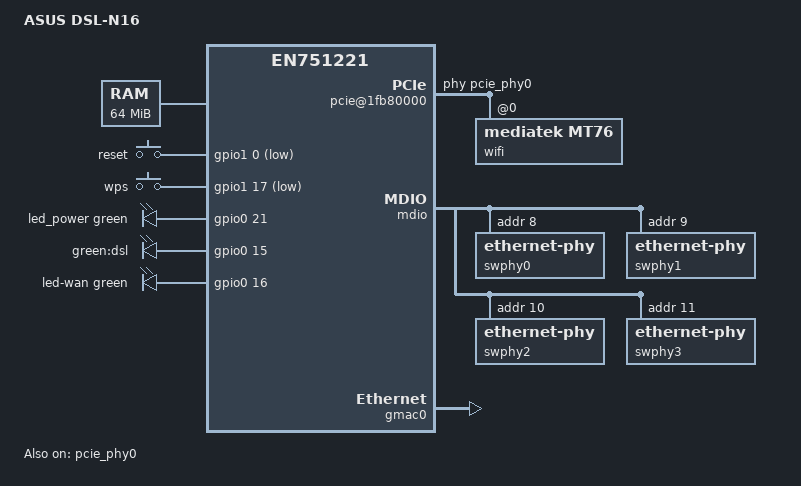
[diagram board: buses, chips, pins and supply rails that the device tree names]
// SPDX-License-Identifier: (GPL-2.0-only OR BSD-2-Clause)
/dts-v1/;

#include <dt-bindings/gpio/gpio.h>
#include <dt-bindings/input/input.h>
#include <dt-bindings/leds/common.h>

#include "en751221.dtsi"

/ {
	model = "ASUS DSL-N16";
	compatible = "asus,dsl-n16", "econet,en751221";

	aliases {
		led-boot = &led_power;
		led-failsafe = &led_power;
		led-running = &led_power;
		led-upgrade = &led_power;
	};

	memory@0 {
		device_type = "memory";
		reg = <0x00000000 0x4000000>;
	};

	chosen {
		stdout-path = "/serial@1fbf0000:115200";
		linux,usable-memory-range = <0x00020000 0x03fe0000>;
	};

	keys {
		compatible = "gpio-keys-polled";
		poll-interval = <20>;

		key-reset {
			label = "reset";
			gpios = <&gpio1 0 GPIO_ACTIVE_LOW>;	/* GPIO 32 */
			linux,code = <KEY_RESTART>;
		};

		key-wps {
			label = "wps";
			gpios = <&gpio1 17 GPIO_ACTIVE_LOW>;	/* GPIO 49 */
			linux,code = <KEY_WPS_BUTTON>;
		};
	};

	leds {
		compatible = "gpio-leds";

		led_power: led-power {
			function = LED_FUNCTION_POWER;
			color = <LED_COLOR_ID_GREEN>;
			gpios = <&gpio0 21 GPIO_ACTIVE_HIGH>;
		};

		led-dsl {
			label = "green:dsl";
			gpios = <&gpio0 15 GPIO_ACTIVE_HIGH>;
		};

		led-wan {
			function = LED_FUNCTION_WAN;
			color = <LED_COLOR_ID_GREEN>;
			gpios = <&gpio0 16 GPIO_ACTIVE_HIGH>;
		};
	};

	/*
	 * LAN1-4 LEDs: GPIO 42-45, shared with the switch port LED outputs
	 * (SCU GPIO share bits 9-12). The switch drives them by default.
	 */
	leds-lan {
		compatible = "econet,mt7510-mux-leds";
		econet,scu = <&scuclk>;

		led-lan1 {
			function = LED_FUNCTION_LAN;
			function-enumerator = <1>;
			color = <LED_COLOR_ID_GREEN>;
			gpios = <&gpio1 10 GPIO_ACTIVE_LOW>;
			econet,mux-bit = <9>;
		};

		led-lan2 {
			function = LED_FUNCTION_LAN;
			function-enumerator = <2>;
			color = <LED_COLOR_ID_GREEN>;
			gpios = <&gpio1 11 GPIO_ACTIVE_LOW>;
			econet,mux-bit = <10>;
		};

		led-lan3 {
			function = LED_FUNCTION_LAN;
			function-enumerator = <3>;
			color = <LED_COLOR_ID_GREEN>;
			gpios = <&gpio1 12 GPIO_ACTIVE_LOW>;
			econet,mux-bit = <11>;
		};

		led-lan4 {
			function = LED_FUNCTION_LAN;
			function-enumerator = <4>;
			color = <LED_COLOR_ID_GREEN>;
			gpios = <&gpio1 13 GPIO_ACTIVE_LOW>;
			econet,mux-bit = <12>;
		};
	};
};

/*
 * MT7510 has no EN7523-style SPI controller; the SPI NOR (GD25Q128) sits on
 * the older TC3162 flash controller with a memory mapped read window.
 */
/delete-node/ &nand;

&spi_ctrl {
	status = "disabled";
};

/ {
	flash@1fbc0000 {
		compatible = "econet,mt7510-sfc";
		reg = <0x1fbc0000 0x100>, <0x1c000000 0x1000000>;

		partitions {
			compatible = "fixed-partitions";
			#address-cells = <1>;
			#size-cells = <1>;

			partition@0 {
				label = "bootloader";
				reg = <0x0 0x10000>;
				read-only;

				nvmem-layout {
					compatible = "fixed-layout";
					#address-cells = <1>;
					#size-cells = <1>;

					eeprom_bootloader_fb00: eeprom@fb00 {
						/* MT7592 */
						reg = <0xfb00 0x400>;
					};

					macaddr_bootloader_ff48: macaddr@ff48 {
						compatible = "mac-base";
						reg = <0xff48 0x6>;
						#nvmem-cell-cells = <1>;
					};
				};
			};

			partition@10000 {
				label = "romfile";
				reg = <0x10000 0x10000>;
				read-only;
			};

			/* Stock "tclinux" (0x20000-0xec0000) + "jffs2" (0xec0000-0xfc0000) */
			partition@20000 {
				label = "firmware";
				reg = <0x20000 0xfa0000>;
			};

			/* tclinux-trx pads header + kernel to 4 MiB */
			partition@420000 {
				label = "rootfs";
				reg = <0x420000 0xba0000>;
				linux,rootfs;
			};

			partition@fc0000 {
				label = "reservearea";
				reg = <0xfc0000 0x40000>;
				read-only;
			};
		};
	};
};

&gmac0 {
	status = "okay";
	nvmem-cells = <&macaddr_bootloader_ff48 0>;
	nvmem-cell-names = "mac-address";
};

/*
 * MT7510 PCIe is not the EN751221/EN7528 controller: it has the MediaTek v1
 * layout (shared registers at 0x1fb80000, root ports at 0x1fb82000 and
 * 0x1fb83000) and one PHY block at 0x1faf2000 for both ports. Replace the
 * dtsi nodes. The MT7592 sits on RC1 (stock log: RC0 link down).
 */
&pcie_phy0 {
	compatible = "econet,mt7510-pcie-phy";
	status = "okay";
};

&pcie_phy1 {
	status = "disabled";
};

&intc {
	#address-cells = <0>;
};

/ {
	pcie@1fb80000 {
		compatible = "econet,mt7510-pcie";
		device_type = "pci";
		reg = <0x1fb80000 0x100>, <0x1fb82000 0x1000>,
		      <0x1fb83000 0x1000>;
		reg-names = "subsys", "port0", "port1";
		#address-cells = <3>;
		#size-cells = <2>;
		econet,scu = <&scuclk>;
		phys = <&pcie_phy0>;
		phy-names = "pcie-phy1";
		bus-range = <0x00 0xff>;
		ranges = <0x81000000 0 0x00000000 0x1f600000 0 0x00010000>,
			 <0x82000000 0 0x20000000 0x20000000 0 0x10000000>;

		pcie@1,0 {
			reg = <0x0800 0 0 0 0>;
			device_type = "pci";
			#address-cells = <3>;
			#size-cells = <2>;
			#interrupt-cells = <1>;
			ranges;
			interrupt-map-mask = <0 0 0 0>;
			/* PCIe INTx reaches the intc on line 23 (seen pending), not 24 */
			interrupt-map = <0 0 0 0 &intc 23>;

			wifi@0,0 {
				compatible = "mediatek,mt76";
				reg = <0x0000 0 0 0 0>;
				nvmem-cells = <&eeprom_bootloader_fb00>,
					      <&macaddr_bootloader_ff48 1>;
				nvmem-cell-names = "eeprom", "mac-address";

				/* Wi-Fi LED hangs off the MT7592's LED pin */
				led {
					led-active-low;
				};
			};
		};
	};
};

/*
 * MT7510 feeds GDMA1 (LAN) from the old PDMA engine, not QDMA, so it needs
 * its own driver (kmod-mt7510-eth). PDMA interrupt = MAC_INT (21). Only the
 * frame engine is reset; the switch keeps the bootloader's PHY setup.
 */
&ethernet {
	compatible = "econet,mt7510-eth";
	/* the switch at 0x1fb58000 has its own node */
	reg = <0x1fb50000 0x8000>;
	interrupts = <21>;
	resets = <&scuclk EN751221_FE_QDMA1_RST>;
	reset-names = "fe";
};

/* The MT7530 core is memory mapped on MT7510, not on MDIO */
/delete-node/ &mdio;

/ {
	/*
	 * MT7530 core (chip ID 0x7530 rev 2). Ports 0-3 = LAN1-4 with FE PHYs
	 * at 8-11 (port 4 / PHY 12 has no socket), port 6 = frame engine.
	 */
	switch@1fb58000 {
		compatible = "econet,mt7510-switch";
		reg = <0x1fb58000 0x8000>;

		ports {
			#address-cells = <1>;
			#size-cells = <0>;

			port@0 {
				reg = <0>;
				label = "lan1";
				phy-handle = <&swphy0>;
				phy-mode = "internal";
			};

			port@1 {
				reg = <1>;
				label = "lan2";
				phy-handle = <&swphy1>;
				phy-mode = "internal";
			};

			port@2 {
				reg = <2>;
				label = "lan3";
				phy-handle = <&swphy2>;
				phy-mode = "internal";
			};

			port@3 {
				reg = <3>;
				label = "lan4";
				phy-handle = <&swphy3>;
				phy-mode = "internal";
			};

			port@6 {
				reg = <6>;
				ethernet = <&gmac0>;
				phy-mode = "internal";

				fixed-link {
					speed = <1000>;
					full-duplex;
					pause;
				};
			};
		};

		mdio {
			#address-cells = <1>;
			#size-cells = <0>;

			swphy0: ethernet-phy@8 {
				reg = <8>;
			};

			swphy1: ethernet-phy@9 {
				reg = <9>;
			};

			swphy2: ethernet-phy@10 {
				reg = <10>;
			};

			swphy3: ethernet-phy@11 {
				reg = <11>;
			};
		};
	};
};

/* MT7510 CPU timer runs at 800 MHz / 3 (stock CPUTMR_CLK), not 200 MHz */
&hpt_clock {
	clock-frequency = <266666667>;
};
